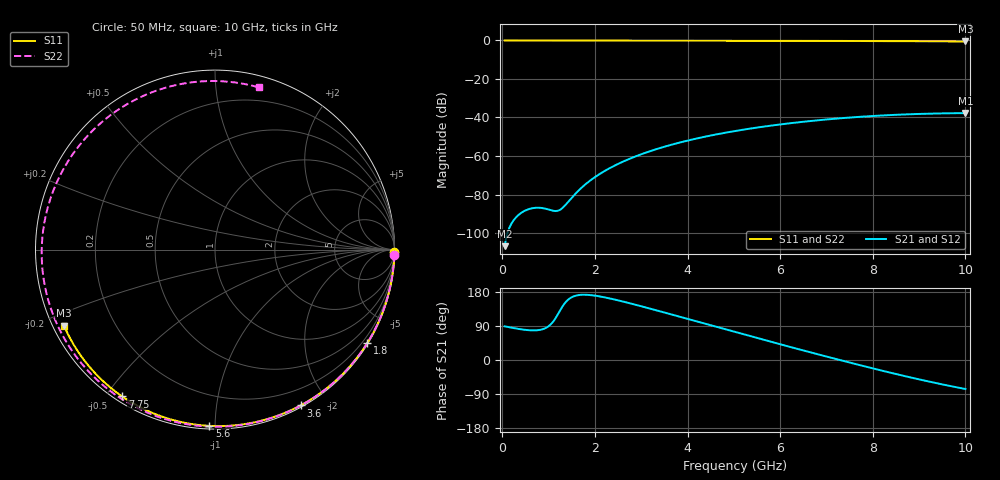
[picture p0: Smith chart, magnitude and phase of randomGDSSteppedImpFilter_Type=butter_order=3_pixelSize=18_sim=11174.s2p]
! freq	dB(S11)	phase(S11)	dB(S12)	phase(S12)
!  dB(S21)	phase(S21)	dB(S22)	phase(S22)
!S-par simulation data
#  GHz  S  DB  R 50
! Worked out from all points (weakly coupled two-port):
!   200 points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, 50 MHz to 10 GHz, reference 50 ohm
!   highest |S21| = -37.72 dB at 10 GHz (marker M1); lowest = -106.8 dB at 50 MHz (marker M2)
!   lowest |S11| = -0.5 dB at 10 GHz (marker M3), VSWR 33.35, Z = 1.58 - j11.9 ohm
!   |S11| at or under -10 dB: nowhere
!   |S22| runs from -0.6 to 0.0 dB; largest |S21 - S12| = 0
!   S11 on the Smith chart (normalised r, x): 50 MHz: open; 1.8 GHz: 0.03, -3.55; 3.6 GHz: 0.02, -1.69; 5.6 GHz: 0.02, -0.97; 7.75 GHz: 0.02, -0.55; 10 GHz: 0.03, -0.24
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0.05  -0.00 -0.9  -106.82 88.9  -106.82 88.9  -0.00 -1.6
0.75  -0.02 -13.2  -86.85 78.4  -86.85 78.4  -0.03 -23.6
1.55  -0.03 -27.2  -80.34 168.3  -80.34 168.3  -0.06 -48.2
1.75  -0.04 -30.6  -75.64 172.2  -75.64 172.2  -0.07 -54.2
1.8  -0.04 -31.4  -74.61 172.2  -74.61 172.2  -0.07 -55.6
2.1  -0.05 -36.5  -69.39 167.9  -69.39 167.9  -0.08 -64.5
2.45  -0.05 -42.4  -64.69 158.9  -64.69 158.9  -0.09 -74.5
2.9  -0.06 -49.9  -60.00 145.1  -60.00 145.1  -0.11 -87.2
3.4  -0.08 -58.0  -55.90 128.7  -55.90 128.7  -0.13 -100.8
3.6  -0.08 -61.2  -54.49 121.9  -54.49 121.9  -0.14 -106.2
4.3  -0.10 -72.3  -50.36 98.3  -50.36 98.3  -0.17 -124.5
5.05  -0.13 -83.7  -46.93 73.0  -46.93 73.0  -0.21 -143.8
5.6  -0.15 -91.9  -44.89 54.7  -44.89 54.7  -0.24 -157.8
6.15  -0.18 -99.8  -43.17 36.6  -43.17 36.6  -0.28 -171.9
6.7  -0.21 -107.7  -41.72 18.7  -41.72 18.7  -0.32 173.7
7.25  -0.25 -115.4  -40.51 1.2  -40.51 1.2  -0.37 158.9
7.75  -0.28 -122.3  -39.61 -14.5  -39.61 -14.5  -0.41 144.9
8.35  -0.34 -130.5  -38.77 -32.6  -38.77 -32.6  -0.46 127.4
8.8  -0.38 -136.7  -38.31 -45.6  -38.31 -45.6  -0.49 113.6
9.2  -0.42 -142.2  -38.02 -56.6  -38.02 -56.6  -0.52 101.0
9.6  -0.47 -147.7  -37.83 -66.9  -37.83 -66.9  -0.55 88.1
10  -0.52 -153.3  -37.72 -76.5  -37.72 -76.5  -0.57 74.9
